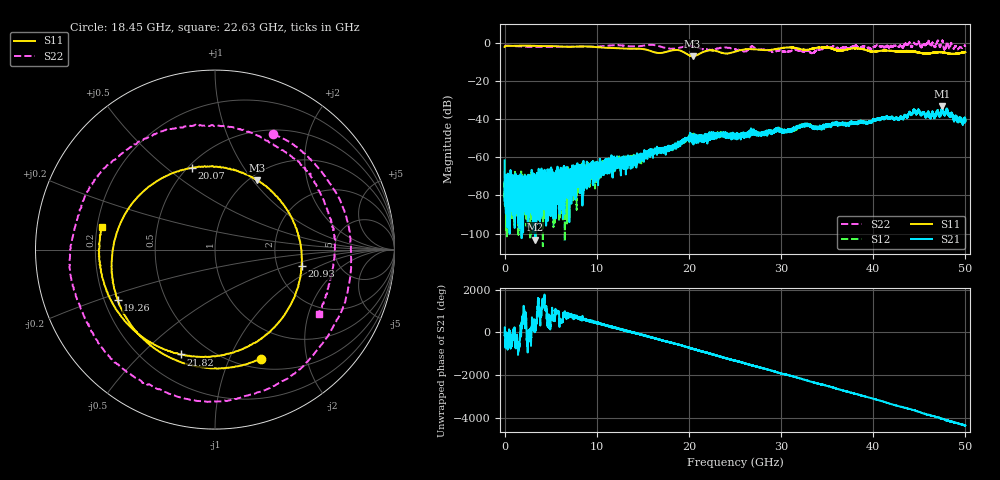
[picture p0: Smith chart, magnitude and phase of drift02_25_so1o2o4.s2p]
!Created with skrf (http://scikit-rf.org).
# Hz S RI R 50.0
!freq ReS11 ImS11 ReS21 ImS21 ReS12 ImS12 ReS22 ImS22
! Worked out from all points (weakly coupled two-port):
!   10001 points, 300 kHz to 50 GHz, reference 50 ohm
!   highest |S21| = -33.22 dB at 47.49 GHz (marker M1); lowest = -103.2 dB at 3.315 GHz (marker M2)
!   lowest |S11| = -6.9 dB at 20.4 GHz (marker M3), VSWR 2.64, Z = 54.1 + j52.3 ohm
!   |S11| at or under -10 dB: nowhere
!   |S22| runs from -5.4 to 1.4 dB; largest |S21 - S12| = 0.0037
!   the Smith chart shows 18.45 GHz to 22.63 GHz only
!   S11 on the Smith chart (normalised r, x): 18.45 GHz: 0.61, -1.31; 19.26 GHz: 0.25, -0.23; 20.07 GHz: 0.52, +0.61; 20.93 GHz: 2.75, -0.66; 21.82 GHz: 0.35, -0.66; 22.63 GHz: 0.22, +0.09
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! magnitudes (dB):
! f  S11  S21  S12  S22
! 300 kHz  -2.1  -61.6  -67.2  -1.3
! 255.3 MHz  -1.4  -73.7  -73.4  -1.4
! 3.315 GHz  -1.5  -103.2  -83.0  -1.9
! 5.315 GHz  -1.6  -76.2  -78.9  -2.0
! 8.335 GHz  -1.7  -69.3  -65.7  -1.9
! 16.67 GHz  -5.2  -57.8  -56.6  -1.5
! 18.45 GHz  -3.6  -54.6  -53.8  -2.9
! 19.26 GHz  -4.3  -52.7  -51.2  -2.1
! 20.07 GHz  -6.5  -50.3  -50.4  -1.6
! 20.4 GHz  -6.9  -52.6  -47.7  -1.7
! 20.93 GHz  -6.2  -52.1  -49.5  -2.2
! 21.82 GHz  -4.2  -50.5  -50.6  -3.5
! 22.63 GHz  -3.8  -48.8  -48.0  -3.4
! 25 GHz  -4.5  -49.1  -49.0  -3.3
! 26.11 GHz  -3.3  -49.1  -47.8  -4.3
! 26.9 GHz  -3.2  -48.1  -45.5  -1.7
! 33.34 GHz  -3.0  -44.3  -43.5  -5.2
! 34.89 GHz  -2.1  -43.8  -43.8  -2.3
! 41.67 GHz  -4.0  -39.5  -39.0  -2.0
! 44.39 GHz  -4.5  -35.1  -35.5  0.2
! 47.49 GHz  -4.9  -33.2  -34.7  1.4
! 50 GHz  -4.8  -40.3  -40.6  -1.5
